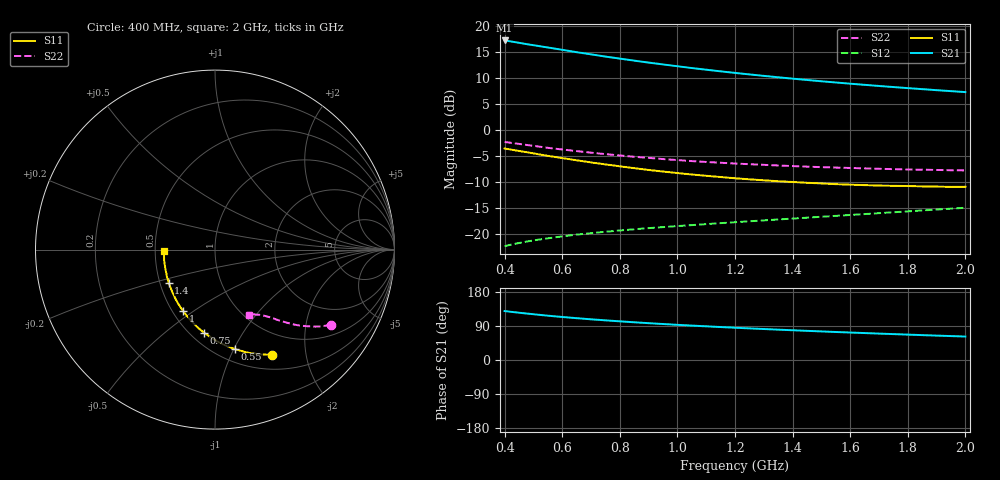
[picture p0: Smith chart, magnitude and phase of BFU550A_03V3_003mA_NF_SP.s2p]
! Filename:  P:\Prog\Test\Noise\ATS_data\Testdata_Net\06 Compressed Noise after Statistics\BFU550A_APG2013_35_C05_03p3V_003mA_NF_CM01_D.sf
! Date/Time: Tue 16/Apr/2013 15:11:27
! BFU550A_APG2013_35_C05_03p3V_1to35mA_NF_CM01_Bias3_R.sf
! Noise Parameter Data File
! BFU550A_APG2013_35_C05_03p3V_1to35mA_NF_CM01
! Date/time: Mon Apr 15 15:23:40 2013
! VAR V_out= 3.300000
! VAR I_out= 2.995000
! VAR V_in= 0.810500
! VAR I_in= 0.031905
! Device data file deembeded for feedlines and parallel
! Original file: \06 Compressed Noise after Statistics\BFU550A_APG2013_35_C05_03p3V_003mA_NF_CM01_R.sf
! Feed-files: PR017V01_150413_Feed1.s2p, PR017V01_150413_Feed2.s2p
! Parallel-file: PR017V01_150413_Par.s2p
# MHz S MA R 50
!  Freq-MHz  S11-mag  S11-arg  S21-mag  S21-arg  S12-mag  S12-arg  S22-mag  S22-arg
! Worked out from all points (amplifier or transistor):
!   37 points, 400 MHz to 2 GHz, reference 50 ohm
!   highest |S21| = 17.2 dB at 400 MHz (marker M1)
!   |S21| within 3 dB of that: start of sweep to 738.7 MHz
!   unconditionally stable (mu >= 1): 1.858 GHz to end of sweep
!   at 500 MHz: K = 0.44, MSG = 18.8 dB, |S12| = -21.2 dB
!   at 1.1 GHz: K = 0.80, MSG = 14.8 dB, |S12| = -18.1 dB
!   at 2 GHz: K = 1.01, MAG = 10.4 dB, |S12| = -14.9 dB
!   lowest NFmin = 0.53 dB at 433 MHz
!   S11 on the Smith chart (normalised r, x): 400 MHz: 0.69, -1.45; 550 MHz: 0.62, -1.01; 750 MHz: 0.58, -0.69; 1 GHz: 0.57, -0.46; 1.4 GHz: 0.56, -0.23; 2 GHz: 0.56, -0.01
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400  0.665 -61.6  7.261 129.2  0.07659 59.6  0.7684 -33.0
420  0.6506 -64.1  7.118 127.3  0.07892 58.8  0.7551 -34.0
440  0.6364 -66.5  6.968 125.6  0.0811 58.0  0.7422 -34.9
480  0.6106 -71.0  6.668 122.4  0.08511 56.6  0.7169 -36.7
500  0.5966 -73.3  6.537 120.8  0.08701 56.0  0.7054 -37.5
550  0.565 -78.8  6.216 116.9  0.09112 54.7  0.6751 -39.3
600  0.5376 -83.7  5.905 113.5  0.09513 53.7  0.6502 -40.8
650  0.5125 -88.4  5.6 110.4  0.09892 52.8  0.6281 -42.2
700  0.4885 -93.0  5.34 107.4  0.1021 52.2  0.6063 -43.5
750  0.4679 -97.3  5.083 104.6  0.1053 51.7  0.5872 -44.5
800  0.4484 -101.6  4.859 102.0  0.1084 51.3  0.57 -45.6
850  0.4303 -105.8  4.647 99.5  0.1113 51.0  0.5535 -46.5
900  0.4134 -109.8  4.451 97.2  0.1142 50.8  0.5403 -47.4
950  0.3994 -113.5  4.272 95.0  0.1168 50.8  0.5262 -48.2
1000  0.3861 -117.2  4.105 92.8  0.1195 50.8  0.5148 -48.9
1100  0.3634 -124.5  3.801 88.9  0.1247 51.0  0.4936 -50.3
1200  0.3441 -131.5  3.542 85.2  0.1301 51.3  0.4769 -51.7
1300  0.3289 -138.0  3.316 81.7  0.1355 51.7  0.4632 -53.0
1400  0.317 -144.6  3.119 78.5  0.141 52.2  0.4505 -54.3
1500  0.307 -150.8  2.943 75.4  0.1468 52.7  0.4402 -55.6
1750  0.291 -165.2  2.589 68.3  0.1622 54.1  0.4212 -59.0
2000  0.2851 -178.1  2.316 61.9  0.1791 55.1  0.4093 -62.8
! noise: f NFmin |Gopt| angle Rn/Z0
400  0.5598  0.3681  23.67  0.1535
460  0.5589  0.3421  30.14  0.143
600  0.6282  0.3465  31.9  0.1606
800  0.63  0.3303  54.34  0.1239
1000  0.6556  0.3035  68.2  0.1157
1200  0.7322  0.2928  81.92  0.1075
1400  0.7477  0.2908  98.47  0.0982
1600  0.7481  0.2916  113.9  0.0867
1800  0.7604  0.3164  129.8  0.068
2000  0.8342  0.2993  145  0.0646
